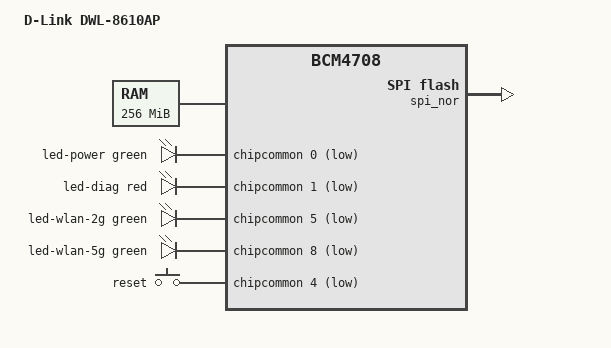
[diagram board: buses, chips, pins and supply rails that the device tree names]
// SPDX-License-Identifier: GPL-2.0-or-later OR MIT
/dts-v1/;

#include "bcm4709.dtsi"
#include "bcm5301x-nand-cs0-bch8.dtsi"
#include <dt-bindings/leds/common.h>
#include <dt-bindings/input/input.h>

/ {
	model = "D-Link DWL-8610AP";
	compatible = "dlink,dwl-8610ap", "brcm,bcm53016", "brcm,bcm4708";

	memory@0 {
		device_type = "memory";
		/* 512 MB RAM in 2 x Macronix D9PSH chips */
		reg = <0x00000000 0x08000000>,
		      <0x88000000 0x08000000>;
	};

	leds {
		compatible = "gpio-leds";

		led-power {
			function = LED_FUNCTION_POWER;
			color = <LED_COLOR_ID_GREEN>;
			gpios = <&chipcommon 0 GPIO_ACTIVE_LOW>;
			default-state = "on";
		};

		led-diag {
			/* Actually "diag" unclear what this means */
			function = LED_FUNCTION_INDICATOR;
			color = <LED_COLOR_ID_RED>;
			gpios = <&chipcommon 1 GPIO_ACTIVE_LOW>;
			default-state = "on";
			linux,default-trigger = "heartbeat";
		};

		led-wlan-2g {
			function = LED_FUNCTION_WLAN;
			color = <LED_COLOR_ID_GREEN>;
			gpios = <&chipcommon 5 GPIO_ACTIVE_LOW>;
		};

		led-wlan-5g {
			function = LED_FUNCTION_WLAN;
			color = <LED_COLOR_ID_GREEN>;
			gpios = <&chipcommon 8 GPIO_ACTIVE_LOW>;
		};
	};

	gpio_keys {
		compatible = "gpio-keys";

		button-reset {
			debounce-interval = <100>;
			wakeup-source;
			linux,code = <KEY_RESTART>;
			label = "reset";
			/* This GPIO is actually stored in NVRAM, but it's not gonna change */
			gpios = <&chipcommon 4 GPIO_ACTIVE_LOW>;
		};
	};

	/*
	 * Flash memory at 0x1e000000-0x1fffffff
	 * Macronix 32 64KB blocks; total size 2MB, same that can be
	 * found attached to the spi_nor SPI controller.
	 */
	nvram@1e080000 {
		compatible = "brcm,nvram";
		reg = <0x1e080000 0x00020000>;

		et0macaddr: et0macaddr {
		};

		et1macaddr: et1macaddr {
		};
	};
};

&gmac0 {
	nvmem-cells = <&et0macaddr>;
	nvmem-cell-names = "mac-address";
};

&gmac1 {
	nvmem-cells = <&et1macaddr>;
	nvmem-cell-names = "mac-address";
};

&spi_nor {
	/* Serial SPI NOR Flash MX 25L1606E */
	status = "okay";
};

&nandcs {
	/*
	 * Spansion S34ML01G100TFI00 128 MB NAND Flash memory
	 *
	 * This ECC is a bit unorthodox but it is what the stock firmware
	 * is using, so to be able to mount the original partitions
	 * this is necessary.
	 */
	nand-ecc-strength = <5>;
	partitions {
		compatible = "fixed-partitions";
		#address-cells = <1>;
		#size-cells = <1>;

		/* This is named nflash1.trx in CFE */
		trx@0 {
			label = "firmware";
			reg = <0x00000000 0x02800000>;
			compatible = "brcm,trx";
		};

		/* This is named nflash1.trx2 in CFE */
		trx2@2800000 {
			label = "firmware2";
			reg = <0x02800000 0x02800000>;
			compatible = "brcm,trx";
		};

		/* This is named nflash1.rwfs in CFE */
		free@5000000 {
			label = "free";
			reg = <0x05000000 0x03000000>;
		};
	};
};
